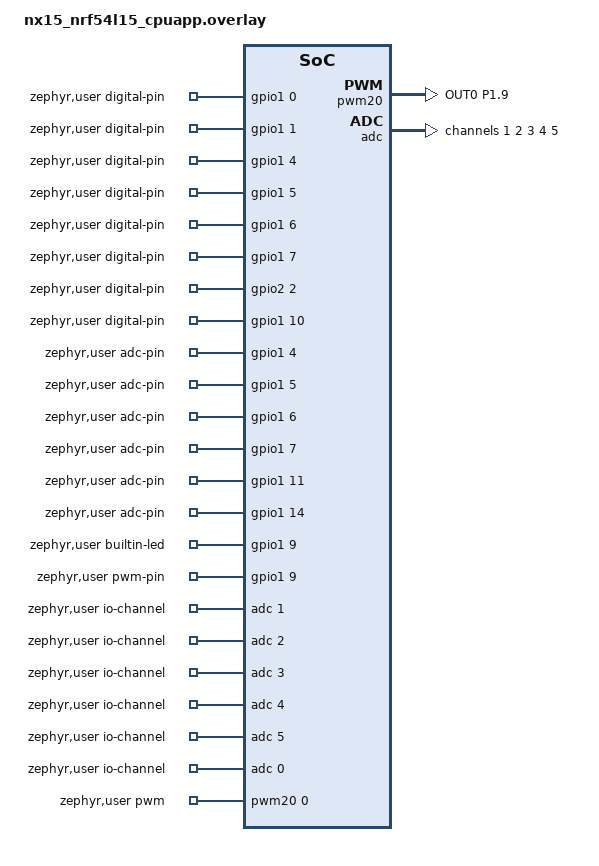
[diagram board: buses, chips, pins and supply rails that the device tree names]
/*
 * Copyright (c) 2026 KORLINX
 *
 * SPDX-License-Identifier: Apache-2.0
 */

/*
 * RRAM layout. The NX15 has no bootloader, so the Arduino loader starts at
 * 0x0, where the nRF54L15 boots; it is flashed with a J-Link.
 *
 * 0x00000000 Arduino loader (384 kB)
 * 0x00060000 User sketch    (1104 kB)
 * 0x00174000 Storage        (36 kB, from the SoC partition file)
 */
/delete-node/ &boot_partition;
/delete-node/ &slot0_partition;
/delete-node/ &slot1_partition;

&cpuapp_rram {
	partitions {
		code_partition: partition@0 {
			compatible = "zephyr,mapped-partition";
			label = "code";
			reg = <0x00000000 0x00060000>;
		};

		user_sketch: partition@60000 {
			compatible = "zephyr,mapped-partition";
			label = "user";
			reg = <0x00060000 0x00114000>;
		};
	};
};

&pinctrl {
	pwm20_default: pwm20_default {
		group1 {
			psels = <NRF_PSEL(PWM_OUT0, 1, 9)>;
		};
	};

	pwm20_sleep: pwm20_sleep {
		group1 {
			psels = <NRF_PSEL(PWM_OUT0, 1, 9)>;
			low-power-enable;
		};
	};
};

&pwm20 {
	status = "okay";
	pinctrl-0 = <&pwm20_default>;
	pinctrl-1 = <&pwm20_sleep>;
	pinctrl-names = "default", "sleep";
};

/* Header analog inputs J3-1..J3-5 (AIN0-AIN4) */
&adc {
	#address-cells = <1>;
	#size-cells = <0>;

	channel@1 {
		reg = <1>;
		zephyr,gain = "ADC_GAIN_1_4";
		zephyr,reference = "ADC_REF_INTERNAL";
		zephyr,acquisition-time = <ADC_ACQ_TIME_DEFAULT>;
		zephyr,input-positive = <NRF_SAADC_AIN0>; /* P1.04 */
		zephyr,resolution = <10>;
	};

	channel@2 {
		reg = <2>;
		zephyr,gain = "ADC_GAIN_1_4";
		zephyr,reference = "ADC_REF_INTERNAL";
		zephyr,acquisition-time = <ADC_ACQ_TIME_DEFAULT>;
		zephyr,input-positive = <NRF_SAADC_AIN1>; /* P1.05 */
		zephyr,resolution = <10>;
	};

	channel@3 {
		reg = <3>;
		zephyr,gain = "ADC_GAIN_1_4";
		zephyr,reference = "ADC_REF_INTERNAL";
		zephyr,acquisition-time = <ADC_ACQ_TIME_DEFAULT>;
		zephyr,input-positive = <NRF_SAADC_AIN2>; /* P1.06 */
		zephyr,resolution = <10>;
	};

	channel@4 {
		reg = <4>;
		zephyr,gain = "ADC_GAIN_1_4";
		zephyr,reference = "ADC_REF_INTERNAL";
		zephyr,acquisition-time = <ADC_ACQ_TIME_DEFAULT>;
		zephyr,input-positive = <NRF_SAADC_AIN3>; /* P1.07 */
		zephyr,resolution = <10>;
	};

	channel@5 {
		reg = <5>;
		zephyr,gain = "ADC_GAIN_1_4";
		zephyr,reference = "ADC_REF_INTERNAL";
		zephyr,acquisition-time = <ADC_ACQ_TIME_DEFAULT>;
		zephyr,input-positive = <NRF_SAADC_AIN4>; /* P1.11 */
		zephyr,resolution = <10>;
	};

	/* channel@0 (AIN7, P1.14, battery) comes from the board dts */
};

/ {
	chosen {
		zephyr,code-partition = &code_partition;
	};

	zephyr,user {
		/* Header pins, LEDs, button and I2C use the same Arduino numbers as
		 * the NX40 (pin N there is P0.N/P1.(N-32)); the other GPIOs fill
		 * the free numbers. All 32 GPIOs of the nRF54L15-CAAA are listed.
		 */
		digital-pin-gpios = <&gpio1 0 0>,	/*  0 P1.00 XL1 */
				    <&gpio1 1 0>,	/*  1 P1.01 XL2 */
				    <&gpio1 4 0>,	/*  2 P1.04 J3-1 A0 */
				    <&gpio1 5 0>,	/*  3 P1.05 J3-2 A1 */
				    <&gpio1 6 0>,	/*  4 P1.06 J3-3 A2 */
				    <&gpio1 7 0>,	/*  5 P1.07 J3-4 A3 */
				    <&gpio2 2 0>,	/*  6 P2.02 SDA */
				    <&gpio1 10 0>,	/*  7 P1.10 button */
				    <&gpio0 4 0>,	/*  8 P0.04 blue LED */
				    <&gpio1 2 0>,	/*  9 P1.02 J5-4 NFC1 */
				    <&gpio1 3 0>,	/* 10 P1.03 J5-5 NFC2 */
				    <&gpio1 9 0>,	/* 11 P1.09 red LED */
				    <&gpio2 4 0>,	/* 12 P2.04 IMU INT1 */
				    <&gpio2 0 0>,	/* 13 P2.00 charge status */
				    <&gpio2 1 0>,	/* 14 P2.01 run LED */
				    <&gpio2 6 0>,	/* 15 P2.06 charger CE */
				    <&gpio2 7 0>,	/* 16 P2.07 HICHG / SWO */
				    <&gpio2 5 0>,	/* 17 P2.05 IMU CS */
				    <&gpio2 10 0>,	/* 18 P2.10 module flash MOSI */
				    <&gpio2 3 0>,	/* 19 P2.03 green LED */
				    <&gpio2 8 0>,	/* 20 P2.08 J5-6 */
				    <&gpio1 12 0>,	/* 21 P1.12 Serial RX */
				    <&gpio1 13 0>,	/* 22 P1.13 Serial TX */
				    <&gpio1 15 0>,	/* 23 P1.15 SCL */
				    <&gpio0 0 0>,	/* 24 P0.00 module flash WP */
				    <&gpio0 1 0>,	/* 25 P0.01 module flash MISO */
				    <&gpio0 2 0>,	/* 26 P0.02 module flash CS */
				    <&gpio0 3 0>,	/* 27 P0.03 module flash HOLD */
				    <&gpio1 11 0>,	/* 28 P1.11 J3-5 A4 */
				    <&gpio1 8 0>,	/* 29 P1.08 J3-6 */
				    <&gpio2 9 0>,	/* 30 P2.09 module flash SCK */
				    <&gpio1 14 0>;	/* 31 P1.14 VBAT */

		/* A0-A4 = J3-1..J3-5, A5 = battery (PIN_VBAT) */
		adc-pin-gpios = <&gpio1 4 0>, <&gpio1 5 0>, <&gpio1 6 0>, <&gpio1 7 0>,
				<&gpio1 11 0>, <&gpio1 14 0>;
		io-channels = <&adc 1>, <&adc 2>, <&adc 3>, <&adc 4>, <&adc 5>, <&adc 0>;

		/* Red LED, P1.09, active high */
		builtin-led-gpios = <&gpio1 9 0>;

		/*
		 * analogWrite() on the red LED; PWM20 can only drive port 1 pins.
		 * The period is in ns of a 16 MHz clock, so 255 would leave only
		 * 4 counts; 500 Hz gives 32000.
		 */
		pwm-pin-gpios = <&gpio1 9 0>;
		pwms = <&pwm20 0 PWM_HZ(500) PWM_POLARITY_NORMAL>;

		serials = <&uart20>; /* 'Serial' through the on-board USB-UART (FT234XD) */
		i2cs = <&i2c_gpio>;  /* 'Wire': SDA P2.02, SCL P1.15, bit-banged */
	};
};
